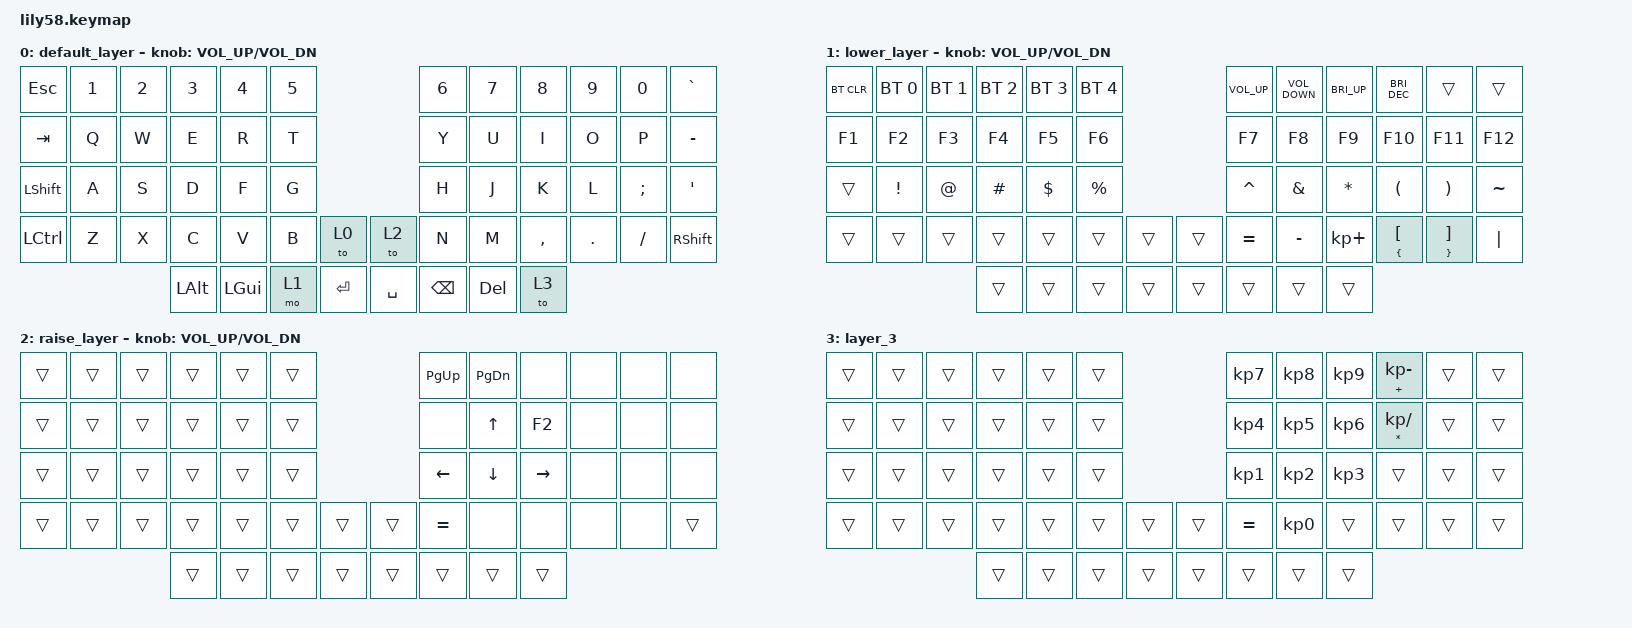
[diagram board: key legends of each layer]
/*
 * Copyright (c) 2020 The ZMK Contributors
 *
 * SPDX-License-Identifier: MIT
 */

#include <behaviors.dtsi>
#include <dt-bindings/zmk/bt.h>
#include <dt-bindings/zmk/keys.h>

/ {
    keymap {
        compatible = "zmk,keymap";

        default_layer {
            // ------------------------------------------------------------------------------------------------------------
            // |  ESC  |  1  |  2  |  3   |  4   |  5   |                   |  6   |  7    |  8    |  9   |   0   |   `   |
            // |  TAB  |  Q  |  W  |  E   |  R   |  T   |                   |  Y   |  U    |  I    |  O   |   P   |   -   |
            // |  CTRL |  A  |  S  |  D   |  F   |  G   |                   |  H   |  J    |  K    |  L   |   ;   |   '   |
            // | SHIFT |  Z  |  X  |  C   |  V   |  B   |   "["  |  |  "]"  |  N   |  M    |  ,    |  .   |   /   | SHIFT |
            //                     | ALT  | GUI  | LOWER|  ENTER |  | SPACE | RAISE| BSPC  | GUI   |

            bindings = <
&kp ESC         &kp N1  &kp N2  &kp N3    &kp N4    &kp N5                        &kp N6         &kp N7      &kp N8     &kp N9   &kp N0    &kp GRAVE
&kp TAB         &kp Q   &kp W   &kp E     &kp R     &kp T                         &kp Y          &kp U       &kp I      &kp O    &kp P     &kp MINUS
&kp LEFT_SHIFT  &kp A   &kp S   &kp D     &kp F     &kp G                         &kp H          &kp J       &kp K      &kp L    &kp SEMI  &kp SQT
&kp LCTRL       &kp Z   &kp X   &kp C     &kp V     &kp B   &to 0      &to 2      &kp N          &kp M       &kp COMMA  &kp DOT  &kp FSLH  &kp RSHFT
                                &kp LALT  &kp LGUI  &mo 1   &kp RET    &kp SPACE  &kp BACKSPACE  &kp DELETE  &to 3
            >;

            sensor-bindings = <&inc_dec_kp C_VOL_UP C_VOL_DN>;
        };

        lower_layer {
            // ------------------------------------------------------------------------------------------------------------
            // | BTCLR | BT1 | BT2 |  BT3 |  BT4 |  BT5 |                   |      |       |       |      |       |       |
            // |  F1   |  F2 |  F3 |  F4  |  F5  |  F6  |                   |  F7  |  F8   |  F9   |  F10 |  F11  |  F12  |
            // |   `   |  !  |  @  |  #   |  $   |  %   |                   |  ^   |  &    |  *    |  (   |   )   |   ~   |
            // |       |     |     |      |      |      |        |  |       |      |  _    |  +    |  {   |   }   |  "|"  |
            //                     |      |      |      |        |  |       |      |       |       |

            bindings = <
&bt BT_CLR  &bt BT_SEL 0  &bt BT_SEL 1  &bt BT_SEL 2  &bt BT_SEL 3  &bt BT_SEL 4                    &kp C_VOLUME_UP  &kp C_VOLUME_DOWN  &kp C_BRI_UP  &kp C_BRIGHTNESS_DEC         &trans                         &trans
&kp F1      &kp F2        &kp F3        &kp F4        &kp F5        &kp F6                          &kp F7           &kp F8             &kp F9        &kp F10                      &kp F11                        &kp F12
&trans      &kp EXCL      &kp AT        &kp HASH      &kp DOLLAR    &kp PRCNT                       &kp CARET        &kp AMPS           &kp ASTERISK  &kp LPAR                     &kp RPAR                       &kp TILDE
&trans      &trans        &trans        &trans        &trans        &trans        &trans    &trans  &kp EQUAL        &kp MINUS          &kp KP_PLUS   &mt LEFT_BRACE LEFT_BRACKET  &mt RIGHT_BRACE RIGHT_BRACKET  &kp PIPE
                                        &trans        &trans        &trans        &trans    &trans  &trans           &trans             &trans
            >;

            sensor-bindings = <&inc_dec_kp C_VOL_UP C_VOL_DN>;
        };

        raise_layer {
            // ------------------------------------------------------------------------------------------------------------
            // |       |     |     |      |      |      |                   |      |       |       |      |       |       |
            // |   `   |  1  |  2  |  3   |  4   |  5   |                   |  6   |   7   |   8   |  9   |   0   |       |
            // |   F1  |  F2 |  F3 |  F4  |  F5  |  F6  |                   |      |   <-  |   v   |  ^   |  ->   |       |
            // |   F7  |  F8 |  F9 |  F10 |  F11 |  F12 |        |  |       |  +   |   -   |   =   |  [   |   ]   |   \   |
            //                     |      |      |      |        |  |       |      |       |       |

            bindings = <
&trans  &trans  &trans  &trans  &trans  &trans                    &kp PAGE_UP     &kp PAGE_DOWN   &none      &none  &none  &none
&trans  &trans  &trans  &trans  &trans  &trans                    &none           &kp UP_ARROW    &kp F2     &none  &none  &none
&trans  &trans  &trans  &trans  &trans  &trans                    &kp LEFT_ARROW  &kp DOWN_ARROW  &kp RIGHT  &none  &none  &none
&trans  &trans  &trans  &trans  &trans  &trans  &trans    &trans  &kp EQUAL       &none           &none      &none  &none  &trans
                        &trans  &trans  &trans  &trans    &trans  &trans          &trans          &trans
            >;

            sensor-bindings = <&inc_dec_kp C_VOL_UP C_VOL_DN>;
        };

        layer_3 {
            bindings = <
&trans  &trans  &trans  &trans  &trans  &trans                    &kp KP_N7  &kp KP_N8  &kp KP_N9  &mt PLUS KP_SUBTRACT    &trans  &trans
&trans  &trans  &trans  &trans  &trans  &trans                    &kp KP_N4  &kp KP_N5  &kp KP_N6  &mt ASTERISK KP_DIVIDE  &trans  &trans
&trans  &trans  &trans  &trans  &trans  &trans                    &kp KP_N1  &kp KP_N2  &kp KP_N3  &trans                  &trans  &trans
&trans  &trans  &trans  &trans  &trans  &trans  &trans    &trans  &kp EQUAL  &kp KP_N0  &trans     &trans                  &trans  &trans
                        &trans  &trans  &trans  &trans    &trans  &trans     &trans     &trans
            >;
        };
    };
};
